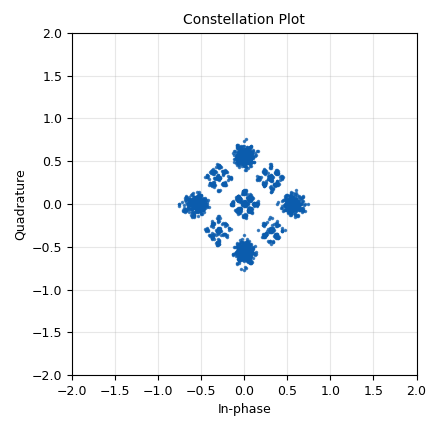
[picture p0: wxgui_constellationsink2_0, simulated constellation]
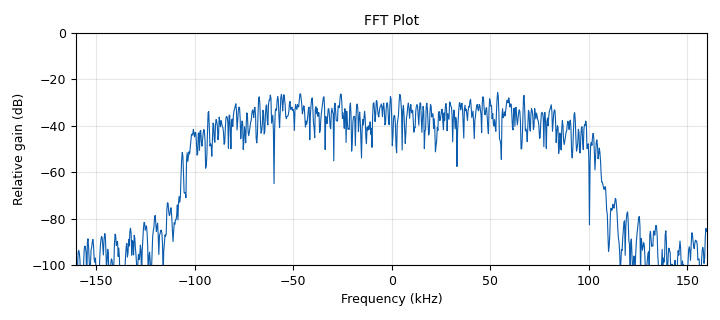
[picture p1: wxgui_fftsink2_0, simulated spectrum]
<?xml version='1.0' encoding='utf-8'?>
<?grc format='1' created='3.7.13'?>
<flow_graph>
<block>
<key>options</key>
<param><key>id</key><value>qpsk_tx_osmocom_wx</value></param>
<param><key>author</key><value>Walt Kilar</value></param>
<param><key>description</key><value>QPSK Transmitter using WX widget</value></param>
<param><key>generate_options</key><value>wx_gui</value></param>
<param><key>title</key><value>QPSK Transmitter</value></param>
</block>
<block>
<key>variable</key>
<param><key>id</key><value>constellation_size</value></param>
<param><key>value</key><value>2048</value></param>
</block>
<block>
<key>variable</key>
<param><key>id</key><value>freq</value></param>
<param><key>value</key><value>2.421e9</value></param>
</block>
<block>
<key>variable</key>
<param><key>id</key><value>gain</value></param>
<param><key>value</key><value>30</value></param>
</block>
<block>
<key>variable</key>
<param><key>id</key><value>samp_rate</value></param>
<param><key>value</key><value>320000</value></param>
</block>
<block>
<key>analog_random_source_x</key>
<param><key>id</key><value>analog_random_source_x_0</value></param>
<param><key>max</key><value>255</value></param>
<param><key>min</key><value>0</value></param>
<param><key>num_samps</key><value>10000000</value></param>
<param><key>type</key><value>byte</value></param>
<param><key>repeat</key><value>True</value></param>
</block>
<block>
<key>blocks_multiply_const_vxx</key>
<param><key>id</key><value>blocks_multiply_const_vxx_0</value></param>
<param><key>const</key><value>0.5</value></param>
<param><key>type</key><value>complex</value></param>
</block>
<block>
<key>blocks_throttle</key>
<param><key>id</key><value>blocks_throttle_0</value></param>
<param><key>samples_per_second</key><value>samp_rate</value></param>
<param><key>type</key><value>complex</value></param>
</block>
<block>
<key>digital_psk_mod</key>
<param><key>id</key><value>digital_psk_mod_0</value></param>
<param><key>differential</key><value>True</value></param>
<param><key>excess_bw</key><value>0.35</value></param>
<param><key>mod_code</key><value>"gray"</value></param>
<param><key>constellation_points</key><value>4</value></param>
<param><key>samples_per_symbol</key><value>2</value></param>
</block>
<block>
<key>wxgui_constellationsink2</key>
<param><key>id</key><value>wxgui_constellationsink2_0</value></param>
<param><key>const_size</key><value>constellation_size</value></param>
<param><key>frame_rate</key><value>5</value></param>
<param><key>gain_mu</key><value>0.005</value></param>
<param><key>loop_bw</key><value>6.28/100.0</value></param>
<param><key>M</key><value>4</value></param>
<param><key>fmax</key><value>0.06</value></param>
<param><key>mu</key><value>0.5</value></param>
<param><key>omega_limit</key><value>0.005</value></param>
<param><key>samp_rate</key><value>samp_rate</value></param>
<param><key>symbol_rate</key><value>samp_rate/4.</value></param>
<param><key>theta</key><value>0</value></param>
<param><key>title</key><value>Constellation Plot</value></param>
</block>
<block>
<key>wxgui_fftsink2</key>
<param><key>id</key><value>wxgui_fftsink2_0</value></param>
<param><key>avg_alpha</key><value>0</value></param>
<param><key>average</key><value>False</value></param>
<param><key>baseband_freq</key><value>0</value></param>
<param><key>fft_size</key><value>1024</value></param>
<param><key>freqvar</key><value>None</value></param>
<param><key>peak_hold</key><value>False</value></param>
<param><key>ref_level</key><value>0</value></param>
<param><key>ref_scale</key><value>2.0</value></param>
<param><key>fft_rate</key><value>15</value></param>
<param><key>samp_rate</key><value>samp_rate</value></param>
<param><key>title</key><value>FFT Plot</value></param>
<param><key>type</key><value>complex</value></param>
<param><key>win</key><value>None</value></param>
<param><key>y_divs</key><value>10</value></param>
<param><key>y_per_div</key><value>10</value></param>
</block>
<block>
<key>wxgui_scopesink2</key>
<param><key>id</key><value>wxgui_scopesink2_0</value></param>
<param><key>ac_couple</key><value>False</value></param>
<param><key>_enabled</key><value>0</value></param>
<param><key>num_inputs</key><value>1</value></param>
<param><key>samp_rate</key><value>samp_rate</value></param>
<param><key>t_scale</key><value>0</value></param>
<param><key>title</key><value>Scope Plot</value></param>
<param><key>trig_mode</key><value>wxgui.TRIG_MODE_AUTO</value></param>
<param><key>type</key><value>complex</value></param>
<param><key>v_offset</key><value>0</value></param>
<param><key>v_scale</key><value>0</value></param>
<param><key>xy_mode</key><value>False</value></param>
<param><key>y_axis_label</key><value>Counts</value></param>
</block>
<connection><source_block_id>analog_random_source_x_0</source_block_id><sink_block_id>digital_psk_mod_0</sink_block_id><source_key>0</source_key><sink_key>0</sink_key></connection>
<connection><source_block_id>blocks_multiply_const_vxx_0</source_block_id><sink_block_id>blocks_throttle_0</sink_block_id><source_key>0</source_key><sink_key>0</sink_key></connection>
<connection><source_block_id>blocks_throttle_0</source_block_id><sink_block_id>wxgui_constellationsink2_0</sink_block_id><source_key>0</source_key><sink_key>0</sink_key></connection>
<connection><source_block_id>blocks_throttle_0</source_block_id><sink_block_id>wxgui_fftsink2_0</sink_block_id><source_key>0</source_key><sink_key>0</sink_key></connection>
<connection><source_block_id>blocks_throttle_0</source_block_id><sink_block_id>wxgui_scopesink2_0</sink_block_id><source_key>0</source_key><sink_key>0</sink_key></connection>
<connection><source_block_id>digital_psk_mod_0</source_block_id><sink_block_id>blocks_multiply_const_vxx_0</sink_block_id><source_key>0</source_key><sink_key>0</sink_key></connection>
</flow_graph>
